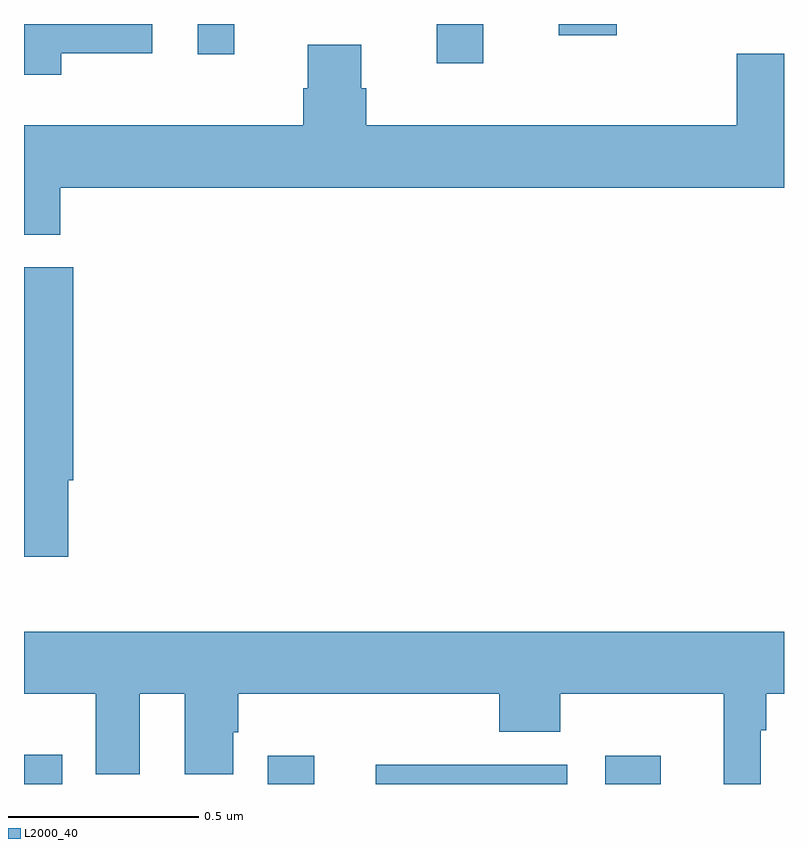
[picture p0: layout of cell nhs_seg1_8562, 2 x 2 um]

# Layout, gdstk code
import gdstk
lib = gdstk.Library(unit=1e-6, precision=1e-09)
def R(c, l, rs):  # rectangles x0, y0, x1, y1
    for r in rs: c.add(gdstk.rectangle(r[:2], r[2:], *l))
def P(c, l, *ps):  # polygons
    for p in ps: c.add(gdstk.Polygon(p, *l))
L2000_40 = (2000, 40)

nhs_seg1_8562 = lib.new_cell('nhs_seg1_8562')
R(nhs_seg1_8562, L2000_40, [(218,514.199,218.1,514.276), (218.642,514.199,218.764,514.273), (218.925,514.199,219.43,514.25), (219.53,514.199,219.676,514.273), (219.086,516.096,219.208,516.199), (218.457,516.12,218.553,516.199), (219.407,516.17,219.56,516.199)])
P(nhs_seg1_8562, L2000_40, [(218.098,516.122),(218.338,516.122),(218.338,516.199),(218,516.199),(218,516.065),(218.098,516.065)],
  [(220,516.121),(219.875,516.121),(219.875,515.932),(218.9,515.932),(218.9,516.03),(218.887,516.03),(218.887,516.145),(218.747,516.145),(218.747,516.03),(218.735,516.03),(218.735,515.932),(218,515.932),(218,515.644),(218.096,515.644),(218.096,515.768),(220,515.768)],
  [(218.117,514.998),(218.129,514.998),(218.129,515.559),(218,515.559),(218,514.797),(218.117,514.797)],
  [(219.939,514.34),(219.953,514.34),(219.953,514.436),(220,514.436),(220,514.6),(218,514.6),(218,514.436),(218.189,514.436),(218.189,514.225),(218.305,514.225),(218.305,514.436),(218.423,514.436),(218.423,514.225),(218.551,514.225),(218.551,514.335),(218.564,514.335),(218.564,514.436),(219.251,514.436),(219.251,514.337),(219.411,514.337),(219.411,514.436),(219.842,514.436),(219.842,514.199),(219.939,514.199)])

lib.write_gds('nhs_seg1_8562.gds')
